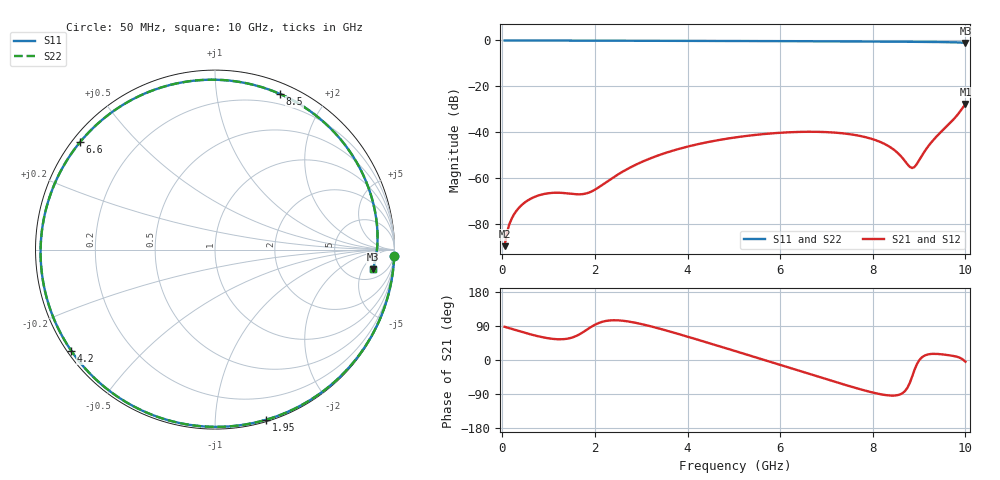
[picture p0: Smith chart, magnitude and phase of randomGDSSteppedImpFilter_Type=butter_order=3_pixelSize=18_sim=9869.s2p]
! freq	dB(S11)	phase(S11)	dB(S12)	phase(S12)
!  dB(S21)	phase(S21)	dB(S22)	phase(S22)
!S-par simulation data
#  GHz  S  DB  R 50
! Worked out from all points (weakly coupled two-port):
!   200 points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, 50 MHz to 10 GHz, reference 50 ohm
!   highest |S21| = -27.73 dB at 10 GHz (marker M1); lowest = -89.7 dB at 50 MHz (marker M2)
!   lowest |S11| = -1.0 dB at 10 GHz (marker M3), VSWR 16.60, Z = 407 - j413 ohm
!   |S11| at or under -10 dB: nowhere
!   |S22| runs from -1.0 to 0.0 dB; largest |S21 - S12| = 0
!   S11 on the Smith chart (normalised r, x): 50 MHz: 1, -57; 1.95 GHz: 0.01, -1.35; 4.2 GHz: 0.01, -0.32; 6.6 GHz: 0.02, +0.35; 8.5 GHz: 0.10, +1.49; 10 GHz: 8, -8
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0.05  -0.01 -2.0  -89.67 87.6  -89.67 87.6  -0.01 -2.0
0.15  -0.01 -5.9  -80.23 84.0  -80.23 84.0  -0.01 -5.9
0.3  -0.01 -11.8  -74.41 78.5  -74.41 78.5  -0.01 -11.8
0.45  -0.02 -17.6  -71.19 73.1  -71.19 73.1  -0.02 -17.6
0.75  -0.03 -29.2  -67.78 63.4  -67.78 63.4  -0.03 -29.2
1.75  -0.08 -66.1  -66.94 73.9  -66.94 73.9  -0.08 -66.1
1.95  -0.09 -73.2  -65.59 89.6  -65.59 89.6  -0.09 -73.2
2.65  -0.12 -96.8  -56.60 102.9  -56.60 102.9  -0.12 -96.8
3.4  -0.14 -120.6  -49.87 82.6  -49.87 82.6  -0.14 -120.6
4.2  -0.18 -144.8  -45.32 54.3  -45.32 54.3  -0.18 -144.8
5.05  -0.23 -170.0  -42.21 22.8  -42.21 22.8  -0.23 -170.0
5.85  -0.28 165.7  -40.45 -7.2  -40.45 -7.2  -0.28 165.7
6.6  -0.34 141.5  -39.80 -35.5  -39.80 -35.5  -0.34 141.5
6.7  -0.35 138.1  -39.80 -39.3  -39.80 -39.3  -0.35 138.1
7.6  -0.44 105.3  -41.15 -72.7  -41.15 -72.7  -0.44 105.3
8.35  -0.52 74.1  -46.17 -93.6  -46.17 -93.6  -0.52 74.2
8.5  -0.54 67.4  -48.35 -93.5  -48.35 -93.5  -0.54 67.5
8.8  -0.58 53.5  -55.11 -60.2  -55.11 -60.2  -0.58 53.6
8.9  -0.59 48.8  -55.17 -26.3  -55.17 -26.3  -0.59 48.8
9.2  -0.65 34.2  -46.06 14.9  -46.06 14.9  -0.65 34.2
9.5  -0.72 19.0  -39.32 14.9  -39.32 14.9  -0.72 19.1
10  -1.05 -7.1  -27.73 -4.5  -27.73 -4.5  -1.04 -7.0
